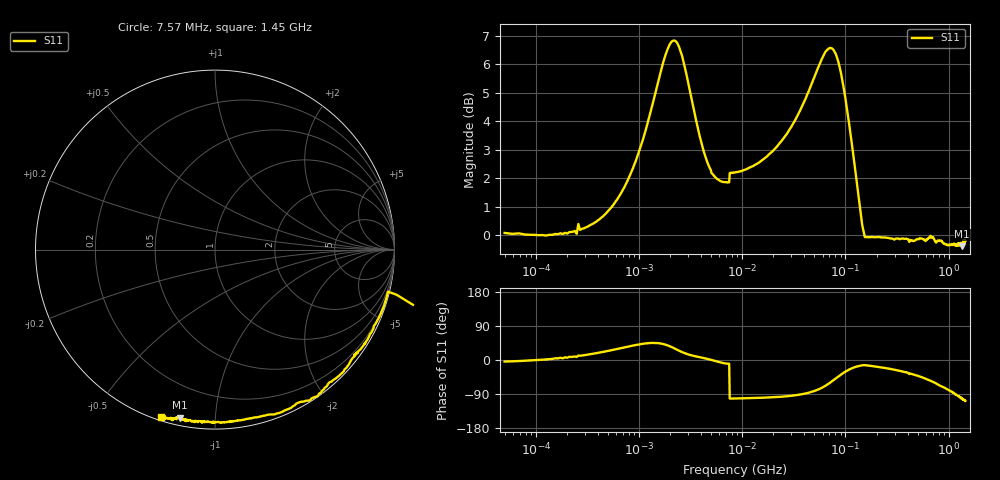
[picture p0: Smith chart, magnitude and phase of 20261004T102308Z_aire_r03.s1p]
! piloto_corto / aire / r03
# HZ S RI R 50
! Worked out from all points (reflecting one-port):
!   501 points, 50 kHz to 1.45 GHz, reference 50 ohm
!   lowest |S11| = -0.4 dB at 1.347 GHz (marker M1), VSWR 44.60, Z = 1.86 - j40.5 ohm
!   phase of S11 starts at -4 deg and turns -104 deg over the sweep
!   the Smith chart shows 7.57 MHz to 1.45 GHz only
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50000  1.006 -0.0737
183000  1.001 0.0784
363500  1.004 0.3015
658000  1.012 0.6025
1180000  1.112 1.072
1720000  1.494 1.351
1990000  1.746 1.281
2440000  1.948 0.895
3430000  1.62 0.3016
4870000  1.309 0.0272
7300000  1.22 -0.2112
7750000  -0.2609 -1.26
8560000  -0.2564 -1.263
1.81e7  -0.2139 -1.369
3.16e7  -0.1016 -1.574
4.78e7  0.2105 -1.846
6.58e7  0.8589 -1.928
7.48e7  1.21 -1.746
8.83e7  1.497 -1.274
9.82e7  1.505 -0.9353
1e8  1.495 -0.883
1.18e8  1.311 -0.4957
1.36e8  1.103 -0.3076
1.63e8  0.9609 -0.2459
4.06e8  0.8121 -0.5539
7.12e8  0.5189 -0.8416
1.3465e9  -0.197 -0.9356
1.45e9  -0.2993 -0.9302
